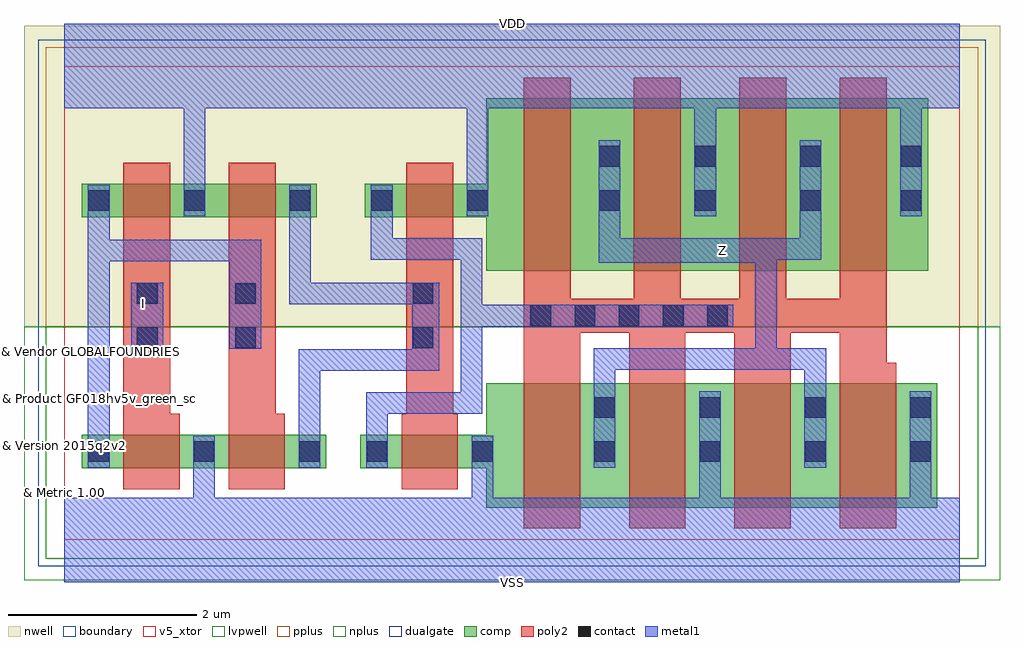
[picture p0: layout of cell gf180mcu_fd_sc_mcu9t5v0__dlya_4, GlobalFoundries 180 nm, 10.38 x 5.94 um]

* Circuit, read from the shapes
.subckt gf180mcu_fd_sc_mcu9t5v0__dlya_4 I VDD VSS Z
XM1 VSS I n1 VSUBS nfet_05v0 w=0.36u l=0.6u
XM2 n2 n1 VSS VSUBS nfet_05v0 w=0.36u l=0.6u
XM3 VSS n2 n3 VSUBS nfet_05v0 w=0.36u l=0.6u
XM4 Z n3 VSS VSUBS nfet_05v0 w=1.32u l=0.6u m=4
XM5 VDD I n1 n4 pfet_05v0 w=0.36u l=0.5u
XM6 n2 n1 VDD n4 pfet_05v0 w=0.36u l=0.5u
XM7 VDD n2 n3 n4 pfet_05v0 w=0.36u l=0.5u
XM8 Z n3 VDD n4 pfet_05v0 w=1.83u l=0.5u m=4
.ends

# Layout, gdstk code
import gdstk
lib = gdstk.Library(unit=1e-6, precision=1e-09)
def R(c, l, rs):  # rectangles x0, y0, x1, y1
    for r in rs: c.add(gdstk.rectangle(r[:2], r[2:], *l))
def A(c, l, x, y, w, h, nx, ny, dx, dy):  # array of equal rectangles
    R(c, l, [(x+i*dx, y+j*dy, x+i*dx+w, y+j*dy+h) for i in range(nx) for j in range(ny)])
def P(c, l, *ps):  # polygons
    for p in ps: c.add(gdstk.Polygon(p, *l))
boundary = (0, 0)
nwell = (21, 0)
comp = (22, 0)
poly2 = (30, 0)
pplus = (31, 0)
nplus = (32, 0)
contact = (33, 0)
metal1 = (34, 0)
dualgate = (55, 0)
v5_xtor = (112, 1)
lvpwell = (204, 0)

gf180mcu_fd_sc_mcu9t5v0_ = lib.new_cell('gf180mcu_fd_sc_mcu9t5v0__dlya_4')
R(gf180mcu_fd_sc_mcu9t5v0_, boundary, [(0,0,9.52,5.04)])
R(gf180mcu_fd_sc_mcu9t5v0_, nwell, [(-0.43,2.265,9.95,5.47)])
R(gf180mcu_fd_sc_mcu9t5v0_, comp, [(0.185,0.76,2.785,1.12), (0.185,3.43,2.685,3.79)])
P(gf180mcu_fd_sc_mcu9t5v0_, comp, [(4.485,2.865),(4.485,3.43),(3.195,3.43),(3.195,3.79),(4.485,3.79),(4.485,4.695),(9.185,4.695),(9.185,2.865)],
  [(4.485,0.345),(4.485,0.76),(3.145,0.76),(3.145,1.12),(4.485,1.12),(4.485,1.665),(9.285,1.665),(9.285,0.345)])
P(gf180mcu_fd_sc_mcu9t5v0_, poly2, [(0.625,0.54),(0.625,4.01),(1.125,4.01),(1.125,1.34),(1.225,1.34),(1.225,0.54)],
  [(1.745,0.54),(1.745,4.01),(2.245,4.01),(2.245,1.34),(2.345,1.34),(2.345,0.54)],
  [(3.585,0.54),(3.585,1.34),(3.635,1.34),(3.635,4.01),(4.135,4.01),(4.135,1.34),(4.185,1.34),(4.185,0.54)],
  [(4.885,0.125),(4.885,4.915),(5.385,4.915),(5.385,2.565),(6.055,2.565),(6.055,4.915),(6.555,4.915),(6.555,2.565),(7.175,2.565),(7.175,4.915),(7.675,4.915),(7.675,2.565),(8.245,2.565),(8.245,4.915),(8.745,4.915),(8.745,1.885),(8.845,1.885),(8.845,0.125),(8.245,0.125),(8.245,2.205),(7.725,2.205),(7.725,0.125),(7.125,0.125),(7.125,2.205),(6.605,2.205),(6.605,0.125),(6.005,0.125),(6.005,2.205),(5.485,2.205),(5.485,0.125)])
R(gf180mcu_fd_sc_mcu9t5v0_, pplus, [(-0.2,2.265,9.72,5.24)])
R(gf180mcu_fd_sc_mcu9t5v0_, nplus, [(-0.2,-0.2,9.72,2.265)])
A(gf180mcu_fd_sc_mcu9t5v0_, contact, 0.255, 0.83, 0.22, 0.22, 3, 1, 1.12, 0)
A(gf180mcu_fd_sc_mcu9t5v0_, contact, 5.635, 0.83, 0.22, 0.22, 4, 2, 1.12, 0.47)
A(gf180mcu_fd_sc_mcu9t5v0_, contact, 4.955, 2.275, 0.22, 0.22, 5, 1, 0.47, 0)
R(gf180mcu_fd_sc_mcu9t5v0_, contact, [(3.215,0.83,3.435,1.05), (4.335,0.83,4.555,1.05), (0.77,2.04,0.99,2.26), (1.815,2.04,2.035,2.26), (3.705,2.04,3.925,2.26), (0.77,2.51,0.99,2.73), (1.815,2.51,2.035,2.73), (3.705,2.51,3.925,2.73), (0.255,3.5,0.475,3.72), (1.275,3.5,1.495,3.72), (2.395,3.5,2.615,3.72), (3.265,3.5,3.485,3.72), (4.285,3.5,4.505,3.72), (5.685,3.5,5.905,3.72), (6.705,3.5,6.925,3.72), (7.825,3.5,8.045,3.72), (8.895,3.5,9.115,3.72), (5.685,3.97,5.905,4.19), (6.705,3.97,6.925,4.19), (7.825,3.97,8.045,4.19), (8.895,3.97,9.115,4.19)])
R(gf180mcu_fd_sc_mcu9t5v0_, metal1, [(0.71,2.035,1.05,2.735)])
P(gf180mcu_fd_sc_mcu9t5v0_, metal1, [(0.25,0.77),(0.25,3.78),(0.48,3.78),(0.48,3.195),(2.095,3.195),(2.095,2.035),(1.755,2.035),(1.755,2.965),(0.48,2.965),(0.48,0.77)],
  [(2.49,0.77),(2.49,2.03),(3.7,2.03),(3.7,2.505),(2.39,2.505),(2.39,3.78),(2.62,3.78),(2.62,2.735),(3.985,2.735),(3.985,1.8),(2.72,1.8),(2.72,0.77)],
  [(3.21,0.77),(3.21,1.57),(4.215,1.57),(4.215,2.98),(3.26,2.98),(3.26,3.78),(3.49,3.78),(3.49,3.21),(4.445,3.21),(4.445,2.5),(7.115,2.5),(7.115,2.27),(4.445,2.27),(4.445,1.34),(3.44,1.34),(3.44,0.77)],
  [(5.63,0.77),(5.63,2.04),(7.345,2.04),(7.345,2.95),(5.68,2.95),(5.68,4.25),(5.91,4.25),(5.91,3.21),(7.82,3.21),(7.82,4.25),(8.05,4.25),(8.05,2.98),(7.575,2.98),(7.575,2.04),(8.1,2.04),(8.1,0.77),(7.87,0.77),(7.87,1.81),(5.86,1.81),(5.86,0.77)],
  [(0,-0.45),(0,0.45),(1.37,0.45),(1.37,1.11),(1.6,1.11),(1.6,0.45),(4.33,0.45),(4.33,1.11),(4.56,1.11),(4.56,0.45),(6.75,0.45),(6.75,1.58),(6.98,1.58),(6.98,0.45),(8.99,0.45),(8.99,1.58),(9.22,1.58),(9.22,0.45),(9.52,0.45),(9.52,-0.45)],
  [(1.27,3.44),(1.27,4.59),(0,4.59),(0,5.49),(9.52,5.49),(9.52,4.59),(9.12,4.59),(9.12,3.44),(8.89,3.44),(8.89,4.59),(6.93,4.59),(6.93,3.44),(6.7,3.44),(6.7,4.59),(4.51,4.59),(4.51,3.44),(4.28,3.44),(4.28,4.59),(1.5,4.59),(1.5,3.44)])
R(gf180mcu_fd_sc_mcu9t5v0_, dualgate, [(-0.28,-0.28,9.8,5.32)])
R(gf180mcu_fd_sc_mcu9t5v0_, v5_xtor, [(0,0,9.52,5.04)])
R(gf180mcu_fd_sc_mcu9t5v0_, lvpwell, [(-0.43,-0.43,9.95,2.265)])
gf180mcu_fd_sc_mcu9t5v0_.add(gdstk.Label('I', (0.84,2.52), layer=34, texttype=10))
gf180mcu_fd_sc_mcu9t5v0_.add(gdstk.Label('VDD', (4.76,5.49), layer=34, texttype=10))
gf180mcu_fd_sc_mcu9t5v0_.add(gdstk.Label('VSS', (4.76,-0.45), layer=34, texttype=10))
gf180mcu_fd_sc_mcu9t5v0_.add(gdstk.Label('Z', (7,3.08), layer=34, texttype=10))
gf180mcu_fd_sc_mcu9t5v0_.add(gdstk.Label('& Vendor GLOBALFOUNDRIES', (0,2), layer=63, texttype=63))
gf180mcu_fd_sc_mcu9t5v0_.add(gdstk.Label('& Product GF018hv5v_green_sc9', (0,1.5), layer=63, texttype=63))
gf180mcu_fd_sc_mcu9t5v0_.add(gdstk.Label('& Version 2015q2v2', (0,1), layer=63, texttype=63))
gf180mcu_fd_sc_mcu9t5v0_.add(gdstk.Label('& Metric 1.00', (0,0.5), layer=63, texttype=63))

lib.write_gds('gf180mcu_fd_sc_mcu9t5v0__dlya_4.gds')
